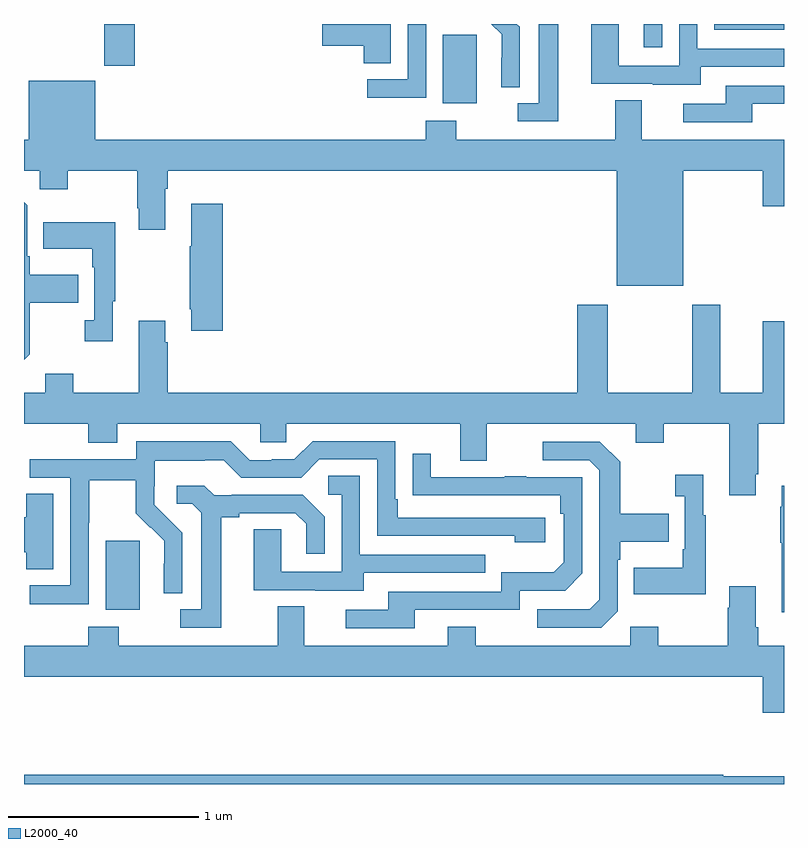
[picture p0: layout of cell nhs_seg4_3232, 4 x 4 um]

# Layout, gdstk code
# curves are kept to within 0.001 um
import gdstk
lib = gdstk.Library(unit=1e-6, precision=1e-09)
def R(c, l, rs):  # rectangles x0, y0, x1, y1
    for r in rs: c.add(gdstk.rectangle(r[:2], r[2:], *l))
def P(c, l, *ps):  # polygons
    for p in ps: c.add(gdstk.Polygon(p, *l))
L2000_40 = (2000, 40)

nhs_seg4_3232 = lib.new_cell('nhs_seg4_3232')
R(nhs_seg4_3232, L2000_40, [(281.429,819.818,281.608,820.179), (283.205,822.482,283.384,822.843), (281.422,822.681,281.582,822.9), (284.261,822.777,284.358,822.9), (284.634,822.87,285,822.9)])
P(nhs_seg4_3232, L2000_40, [(282.931,822.9),(282.57,822.9),(282.57,822.785),(282.788,822.785),(282.788,822.694),(282.931,822.694)],
  [(283.813,822.9),(283.709,822.9),(283.709,822.483),(283.599,822.483),(283.599,822.387),(283.813,822.387)],
  [(284.563,822.675),(285,822.675),(285,822.771),(284.544,822.771),(284.544,822.9),(284.448,822.9),(284.448,822.681),(284.13,822.681),(284.13,822.9),(283.985,822.9),(283.985,822.585),(284.309,822.585),(284.309,822.581),(284.563,822.581)],
  [(283.608,822.886),(283.594,822.9),(283.458,822.9),(283.514,822.845),(283.514,822.722),(283.512,822.722),(283.512,822.568),(283.608,822.568)],
  [(283.116,822.9),(283.02,822.9),(283.02,822.609),(282.807,822.609),(282.807,822.511),(283.116,822.511)],
  [(284.833,822.48),(285,822.48),(285,822.576),(284.693,822.576),(284.693,822.48),(284.469,822.48),(284.469,822.384),(284.833,822.384)],
  [(284.251,822.5),(284.111,822.5),(284.111,822.292),(283.275,822.292),(283.275,822.391),(283.115,822.391),(283.115,822.292),(281.374,822.292),(281.374,822.601),(281.024,822.601),(281.024,822.292),(281,822.292),(281,822.128),(281.082,822.128),(281.082,822.029),(281.229,822.029),(281.229,822.128),(281.596,822.128),(281.596,821.929),(281.603,821.929),(281.603,821.817),(281.743,821.817),(281.743,822.032),(281.756,822.032),(281.756,822.128),(284.12,822.128),(284.12,821.522),(284.47,821.522),(284.47,822.128),(284.888,822.128),(284.888,821.94),(285,821.94),(285,822.292),(284.251,822.292)],
  [(281.029,821.161),(281.029,821.434),(281.285,821.434),(281.285,821.581),(281.029,821.581),(281.029,821.677),(281.016,821.677),(281.016,821.946),(281,821.962),(281,821.132)],
  [(282.047,821.953),(281.879,821.953),(281.879,821.729),(281.872,821.729),(281.872,821.398),(281.879,821.398),(281.879,821.286),(282.047,821.286)],
  [(281.467,821.441),(281.479,821.441),(281.479,821.857),(281.101,821.857),(281.101,821.717),(281.358,821.717),(281.358,821.621),(281.37,821.621),(281.37,821.342),(281.319,821.342),(281.319,821.229),(281.467,821.229)],
  [(284.851,820.531),(284.864,820.531),(284.864,820.796),(285,820.796),(285,821.335),(284.888,821.335),(284.888,820.96),(284.665,820.96),(284.665,821.422),(284.518,821.422),(284.518,820.96),(284.073,820.96),(284.073,821.422),(283.913,821.422),(283.913,820.96),(281.756,820.96),(281.756,821.225),(281.743,821.225),(281.743,821.338),(281.603,821.338),(281.603,820.96),(281.259,820.96),(281.259,821.059),(281.111,821.059),(281.111,820.96),(281,820.96),(281,820.796),(281.339,820.796),(281.339,820.697),(281.491,820.697),(281.491,820.796),(282.243,820.796),(282.243,820.698),(282.381,820.698),(282.381,820.796),(283.295,820.796),(283.295,820.602),(283.435,820.602),(283.435,820.796),(284.219,820.796),(284.219,820.697),(284.367,820.697),(284.367,820.796),(284.711,820.796),(284.711,820.419),(284.851,820.419)],
  [(281.34,820.276),(281.343,820.276),(281.343,820.5),(281.587,820.5),(281.587,820.325),(281.664,820.248),(281.667,820.251),(281.738,820.181),(281.738,820.058),(281.736,820.058),(281.736,819.904),(281.832,819.904),(281.832,820.222),(281.686,820.37),(281.686,820.467),(281.688,820.467),(281.688,820.601),(281.951,820.601),(281.951,820.605),(282.051,820.605),(282.144,820.512),(282.459,820.512),(282.555,820.608),(282.858,820.608),(282.858,820.206),(283.583,820.206),(283.583,820.172),(283.744,820.172),(283.744,820.302),(282.967,820.302),(282.967,820.399),(282.954,820.399),(282.954,820.704),(282.519,820.704),(282.423,820.608),(282.305,820.608),(282.305,820.605),(282.189,820.605),(282.089,820.705),(281.592,820.705),(281.592,820.608),(281.031,820.608),(281.031,820.512),(281.244,820.512),(281.244,819.945),(281.031,819.945),(281.031,819.847),(281.34,819.847)],
  [(284.124,819.81),(284.124,820.079),(284.137,820.079),(284.137,820.175),(284.393,820.175),(284.393,820.323),(284.137,820.323),(284.137,820.595),(284.031,820.701),(283.731,820.701),(283.731,820.605),(283.974,820.605),(284.028,820.551),(284.028,819.87),(283.977,819.819),(283.701,819.819),(283.701,819.723),(284.037,819.723)],
  [(283.057,819.816),(283.608,819.816),(283.608,819.918),(283.848,819.918),(283.938,820.008),(283.938,820.515),(283.643,820.515),(283.643,820.52),(283.531,820.52),(283.531,820.515),(283.141,820.515),(283.141,820.639),(283.045,820.639),(283.045,820.42),(283.822,820.419),(283.822,820.322),(283.842,820.322),(283.842,820.068),(283.789,820.015),(283.512,820.015),(283.512,819.912),(282.917,819.912),(282.917,819.816),(282.693,819.816),(282.693,819.72),(283.057,819.72)],
  [(284.587,820.315),(284.575,820.315),(284.575,820.528),(284.427,820.528),(284.427,820.415),(284.478,820.415),(284.478,820.135),(284.466,820.135),(284.466,820.039),(284.209,820.039),(284.209,819.899),(284.587,819.899)],
  [(282.787,820.011),(283.427,820.011),(283.427,820.107),(282.768,820.107),(282.768,820.523),(282.6,820.523),(282.6,820.422),(282.672,820.422),(282.672,820.017),(282.354,820.017),(282.354,820.241),(282.209,820.241),(282.209,819.921),(282.533,819.921),(282.533,819.917),(282.787,819.917)],
  [(285,820.471),(284.987,820.471),(284.987,820.358),(284.98,820.358),(284.98,820.169),(284.987,820.169),(284.987,819.804),(285,819.804)],
  [(282.037,820.304),(282.133,820.304),(282.133,820.326),(282.428,820.326),(282.485,820.269),(282.485,820.113),(282.582,820.113),(282.582,820.306),(282.466,820.422),(282.094,820.422),(282.094,820.419),(282,820.419),(281.948,820.471),(281.805,820.471),(281.805,820.374),(281.886,820.374),(281.933,820.327),(281.933,819.819),(281.823,819.819),(281.823,819.723),(282.037,819.723)],
  [(281.155,820.427),(281.012,820.427),(281.012,820.304),(281,820.304),(281,820.121),(281.012,820.121),(281.012,820.03),(281.155,820.03)],
  [(285,819.628),(284.864,819.628),(284.864,819.724),(284.851,819.724),(284.851,819.94),(284.711,819.94),(284.711,819.827),(284.704,819.827),(284.704,819.628),(284.337,819.628),(284.337,819.727),(284.19,819.727),(284.19,819.628),(283.377,819.628),(283.377,819.727),(283.229,819.727),(283.229,819.628),(282.475,819.628),(282.475,819.836),(282.335,819.836),(282.335,819.628),(281.499,819.628),(281.499,819.727),(281.339,819.727),(281.339,819.628),(281,819.628),(281,819.464),(284.888,819.464),(284.888,819.276),(285,819.276)],
  [(285,818.941),(284.68,818.941),(284.68,818.948),(281,818.948),(281,818.9),(285,818.9)])

lib.write_gds('nhs_seg4_3232.gds')
